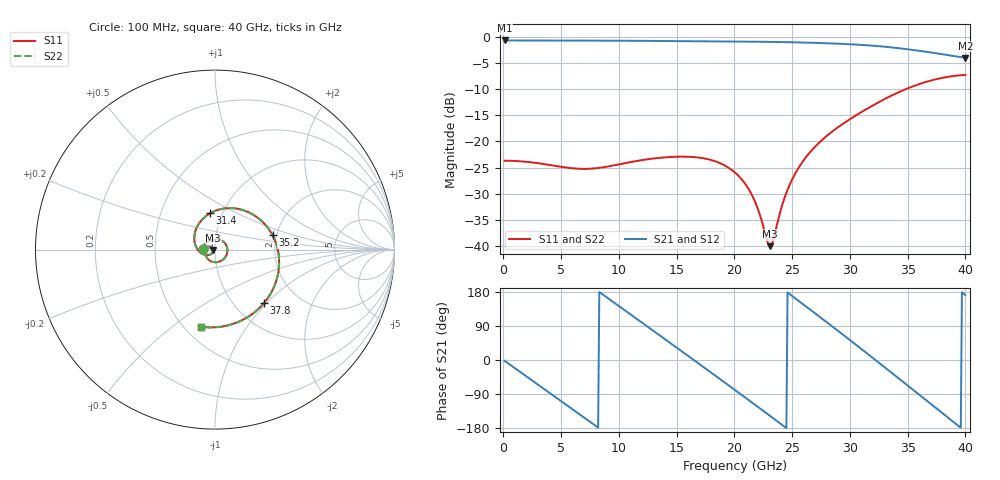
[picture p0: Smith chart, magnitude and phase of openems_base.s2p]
! C_s8_ap800: L1→L8, antipad Ø0.8 on every plane
! stackup: 8-layer 1.6 mm FR-4 (generic)
! ports: 1, 2
! openEMS 0.37.0, staircase, base mesh (dfine 0.035 mm), 637065 cells
# Hz S RI R 50
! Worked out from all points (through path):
!   400 points, 100 MHz to 40 GHz, reference 50 ohm
!   highest |S21| = -0.59 dB at 100 MHz (marker M1); lowest = -3.9 dB at 40 GHz (marker M2)
!   group delay of S21, straight-line fit = 62.8 ps
!   lowest |S11| = -40.1 dB at 23.1 GHz (marker M3), VSWR 1.02, Z = 49 - j0.191 ohm
!   |S11| at or under -10 dB: start of sweep to 34.78 GHz
!   |S22| runs from -40.1 to -7.2 dB; largest |S21 - S12| = 3.2e-07
!   S11 on the Smith chart (normalised r, x): 100 MHz: 0.88, +0.00; 31.4 GHz: 0.87, +0.37; 35.2 GHz: 1.90, +0.34; 37.8 GHz: 1.35, -0.97; 40 GHz: 0.60, -0.64
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1e8  -0.0654 0.00134  0.9338 -0.0354  0.9338 -0.0354  -0.0654 0.00134
1.7e9  -0.0604 0.0219  0.7467 -0.5615  0.7467 -0.5615  -0.0604 0.0219
3.6e9  -0.0454 0.04  0.1905 -0.914  0.1905 -0.914  -0.0454 0.04
5.1e9  -0.031 0.0477  -0.3321 -0.872  -0.3321 -0.872  -0.031 0.0477
6.8e9  -0.0155 0.0524  -0.7893 -0.4959  -0.7893 -0.4959  -0.0155 0.0524
9.6e9  0.0178 0.0563  -0.8136 0.45  -0.8136 0.45  0.0178 0.0563
1.16e10  0.0528 0.0382  -0.2757 0.8852  -0.2757 0.8852  0.0528 0.0382
1.34e10  0.0692 -0.00628  0.3488 0.8558  0.3488 0.8558  0.0692 -0.00628
1.52e10  0.0449 -0.0556  0.8111 0.4361  0.8111 0.4361  0.0449 -0.0556
1.67e10  -0.000768 -0.0705  0.9151 -0.0769  0.9151 -0.0769  -0.000768 -0.0705
1.82e10  -0.0416 -0.0504  0.7217 -0.564  0.7217 -0.564  -0.0416 -0.0504
2.01e10  -0.0496 -0.00385  0.1535 -0.8999  0.1535 -0.8999  -0.0496 -0.00385
2.15e10  -0.0284 0.0122  -0.3368 -0.8454  -0.3368 -0.8454  -0.0284 0.0122
2.31e10  -0.00968 -0.00194  -0.7667 -0.4818  -0.7667 -0.4818  -0.00968 -0.00194
2.49e10  -0.0293 -0.0286  -0.8875 0.1381  -0.8875 0.1381  -0.0293 -0.0286
2.67e10  -0.0807 -0.0168  -0.5681 0.6825  -0.5681 0.6825  -0.0807 -0.0168
2.89e10  -0.1152 0.071  0.1724 0.8535  0.1724 0.8535  -0.1152 0.071
3.14e10  -0.0284 0.2018  0.7932 0.2799  0.7932 0.2799  -0.0284 0.2018
3.34e10  0.1537 0.2207  0.7077 -0.3855  0.7077 -0.3855  0.1537 0.2207
3.52e10  0.3205 0.0803  0.2351 -0.7274  0.2351 -0.7274  0.3205 0.0803
3.78e10  0.2715 -0.2996  -0.4917 -0.4909  -0.4917 -0.4909  0.2715 -0.2996
4e10  -0.079 -0.4293  -0.6288 0.0958  -0.6288 0.0958  -0.079 -0.4293
